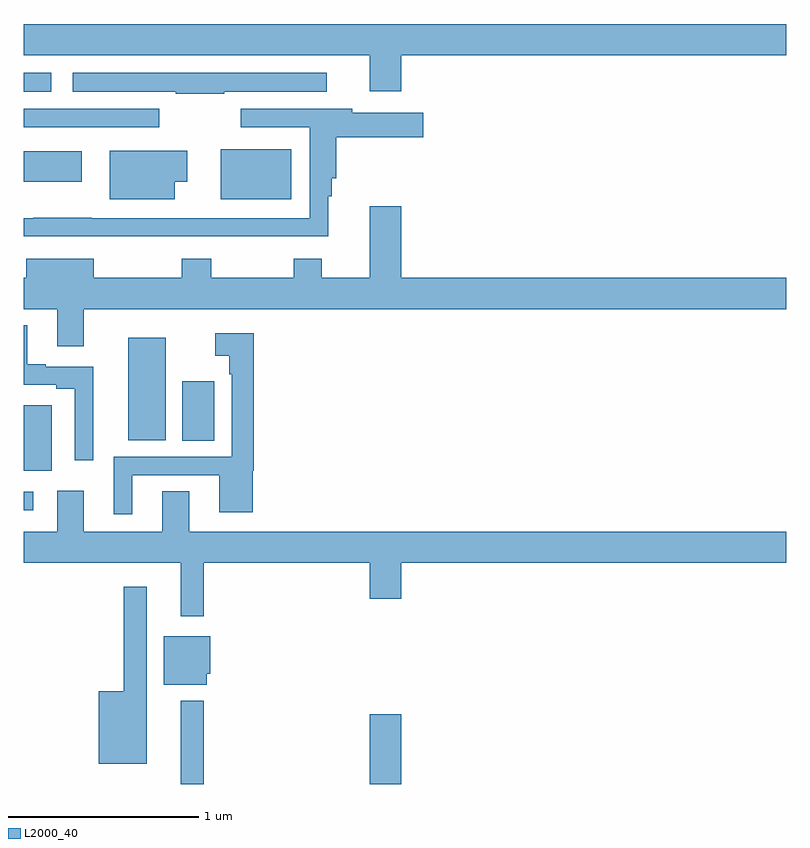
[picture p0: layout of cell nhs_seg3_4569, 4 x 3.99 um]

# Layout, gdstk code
import gdstk
lib = gdstk.Library(unit=1e-6, precision=1e-09)
def R(c, l, rs):  # rectangles x0, y0, x1, y1
    for r in rs: c.add(gdstk.rectangle(r[:2], r[2:], *l))
def P(c, l, *ps):  # polygons
    for p in ps: c.add(gdstk.Polygon(p, *l))
L2000_40 = (2000, 40)

nhs_seg3_4569 = lib.new_cell('nhs_seg3_4569')
R(nhs_seg3_4569, L2000_40, [(355.823,722.4,355.945,722.836), (356.816,722.4,356.98,722.767), (355,723.837,355.048,723.933), (355,724.043,355.147,724.387), (355.832,724.201,355.999,724.513), (355.547,724.205,355.744,724.741), (356.033,725.468,356.404,725.731), (355,725.561,355.303,725.719), (355,725.847,355.711,725.943), (355,726.032,355.144,726.133)])
P(nhs_seg3_4569, L2000_40, [(356.98,726.224),(359,726.224),(359,726.388),(355,726.388),(355,726.224),(356.816,726.224),(356.816,726.036),(356.98,726.036)],
  [(356.051,726.032),(356.59,726.032),(356.59,726.133),(355.257,726.133),(355.257,726.032),(355.798,726.032),(355.798,726.022),(356.051,726.022)],
  [(355.739,725.274),(356.071,725.274),(356.071,725.273),(356.327,725.273),(356.327,725.274),(356.598,725.274),(356.598,725.483),(356.615,725.483),(356.615,725.579),(356.639,725.579),(356.639,725.794),(357.097,725.794),(357.097,725.923),(356.722,725.923),(356.722,725.943),(356.139,725.943),(356.139,725.847),(356.499,725.847),(356.499,725.37),(355.355,725.37),(355.355,725.372),(355.048,725.372),(355.048,725.37),(355,725.37),(355,725.274),(355.462,725.274),(355.462,725.273),(355.739,725.273)],
  [(355.792,725.561),(355.858,725.561),(355.858,725.722),(355.451,725.722),(355.451,725.468),(355.792,725.468)],
  [(355.315,724.892),(359,724.892),(359,725.056),(356.98,725.056),(356.98,725.431),(356.816,725.431),(356.816,725.056),(356.563,725.056),(356.563,725.155),(356.416,725.155),(356.416,725.056),(355.983,725.056),(355.983,725.155),(355.828,725.155),(355.828,725.056),(355.366,725.056),(355.366,725.155),(355.013,725.155),(355.013,725.056),(355,725.056),(355,724.892),(355.175,724.892),(355.175,724.698),(355.315,724.698)],
  [(355.364,724.59),(355.114,724.59),(355.114,724.603),(355.018,724.603),(355.018,724.807),(355,724.807),(355,724.494),(355.169,724.494),(355.169,724.474),(355.266,724.474),(355.266,724.098),(355.364,724.098)],
  [(355.57,724.02),(356.024,724.02),(356.024,723.827),(356.2,723.827),(356.2,724.045),(356.207,724.045),(356.207,724.765),(356.004,724.765),(356.004,724.646),(356.079,724.646),(356.079,724.55),(356.091,724.55),(356.091,724.116),(355.472,724.116),(355.472,723.816),(355.57,723.816)],
  [(355.945,723.56),(356.816,723.56),(356.816,723.372),(356.98,723.372),(356.98,723.56),(359,723.56),(359,723.724),(355.867,723.724),(355.867,723.935),(355.727,723.935),(355.727,723.724),(355.315,723.724),(355.315,723.94),(355.175,723.94),(355.175,723.724),(355,723.724),(355,723.56),(355.823,723.56),(355.823,723.279),(355.945,723.279)],
  [(355.645,723.436),(355.524,723.436),(355.524,722.887),(355.394,722.887),(355.394,722.507),(355.645,722.507)],
  [(355.96,722.979),(355.978,722.979),(355.978,723.175),(355.733,723.175),(355.733,722.921),(355.96,722.921)])

lib.write_gds('nhs_seg3_4569.gds')
